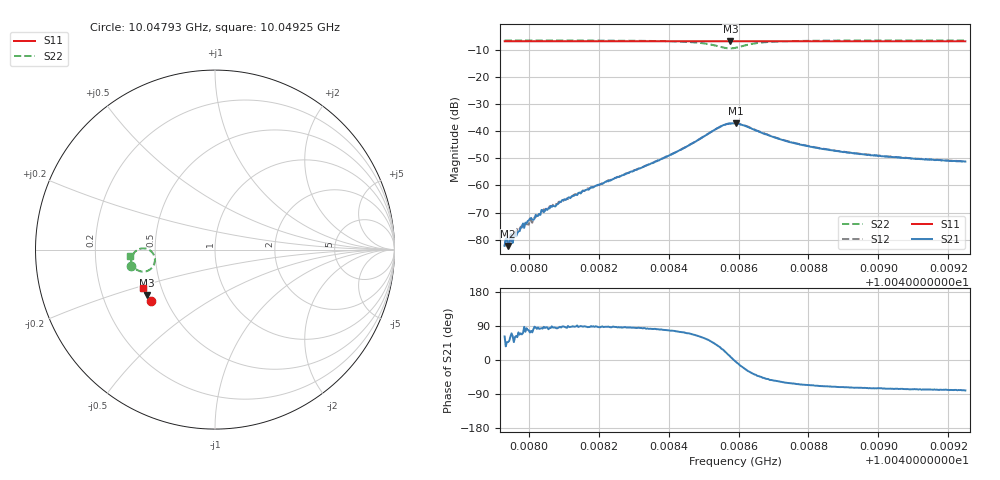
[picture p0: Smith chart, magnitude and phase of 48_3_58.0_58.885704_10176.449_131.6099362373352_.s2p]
#  HZ  S  RI  R  50.00
! Rohde & Schwarz Vector Network Analyzer
! Rohde-Schwarz,ZNB20-2Port,1311601062101988,3.16
! Created: UTC 3/21/2024, 12:52:23 AM
! freq[Hz]  re:S11  im:S11  re:S21  im:S21  re:S12  im:S12  re:S22  im:S22
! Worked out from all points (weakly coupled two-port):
!   401 points, 10.04793 GHz to 10.04925 GHz, reference 50 ohm
!   highest |S21| = -37.07 dB at 10.04859 GHz (marker M1); lowest = -82.3 dB at 10.04794 GHz (marker M2)
!   lowest |S11| = -6.8 dB at 10.04858 GHz (marker M3), VSWR 2.68, Z = 20.1 - j12.8 ohm
!   |S11| at or under -10 dB: nowhere
!   |S22| runs from -9.4 to -6.5 dB; largest |S21 - S12| = 0.0011
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1.0047931e10  -0.3579 -0.2884  3.58e-05 6.77e-05  6.97e-05 2.94e-05  -0.4656 -0.0919
1.0047941e10  -0.3582 -0.288  5.17e-05 5.64e-05  4.62e-05 6.86e-05  -0.4656 -0.091
1.0047948e10  -0.3586 -0.2875  5.94e-05 0.000108  6.9e-05 8.39e-05  -0.4658 -0.0903
1.0047961e10  -0.3591 -0.2868  6.44e-05 0.000114  2.56e-05 0.000135  -0.4658 -0.0894
1.0047974e10  -0.3596 -0.2861  5.62e-05 0.000132  4.96e-05 0.000149  -0.466 -0.0881
1.0048001e10  -0.3607 -0.2847  4.67e-05 0.000222  4.95e-05 0.000182  -0.4662 -0.0858
1.0048017e10  -0.3613 -0.2838  9.17e-06 0.000245  3.41e-05 0.000254  -0.4664 -0.0842
1.0048043e10  -0.3622 -0.2824  1.37e-05 0.00032  -6e-06 0.000361  -0.4666 -0.0816
1.0048152e10  -0.3666 -0.2765  1.66e-05 0.000764  -2.49e-05 0.000762  -0.4672 -0.0707
1.0048373e10  -0.3749 -0.2643  0.000484 0.00286  0.000301 0.00292  -0.4614 -0.0362
1.0048445e10  -0.3775 -0.2601  0.00149 0.00473  0.00126 0.0048  -0.4488 -0.0154
1.0048524e10  -0.3798 -0.2551  0.00672 0.00737  0.00622 0.00773  -0.3952 0.00691
1.0048557e10  -0.3804 -0.2534  0.0117 0.00579  0.0113 0.00631  -0.3505 -0.0149
1.0048577e10  -0.3806 -0.2526  0.0136 0.00205  0.0136 0.00301  -0.335 -0.0498
1.004859e10  -0.3813 -0.2523  0.0139 -0.000685  0.0141 0.000317  -0.3371 -0.076
1.0048593e10  -0.3812 -0.252  0.0139 -0.00134  0.014 -0.000274  -0.3392 -0.0819
1.0048626e10  -0.3827 -0.2508  0.0106 -0.00578  0.0112 -0.00507  -0.3772 -0.1189
1.0048672e10  -0.3847 -0.2484  0.00613 -0.00663  0.00679 -0.00631  -0.4222 -0.119
1.0048728e10  -0.387 -0.2452  0.00354 -0.00585  0.00397 -0.00566  -0.4468 -0.1035
1.0048811e10  -0.3899 -0.2403  0.00203 -0.00472  0.00231 -0.00462  -0.4608 -0.0847
1.0049031e10  -0.397 -0.2275  0.000839 -0.00326  0.00104 -0.00323  -0.4707 -0.0543
1.0049248e10  -0.4038 -0.2146  0.000462 -0.00272  0.000646 -0.00269  -0.4734 -0.0342
